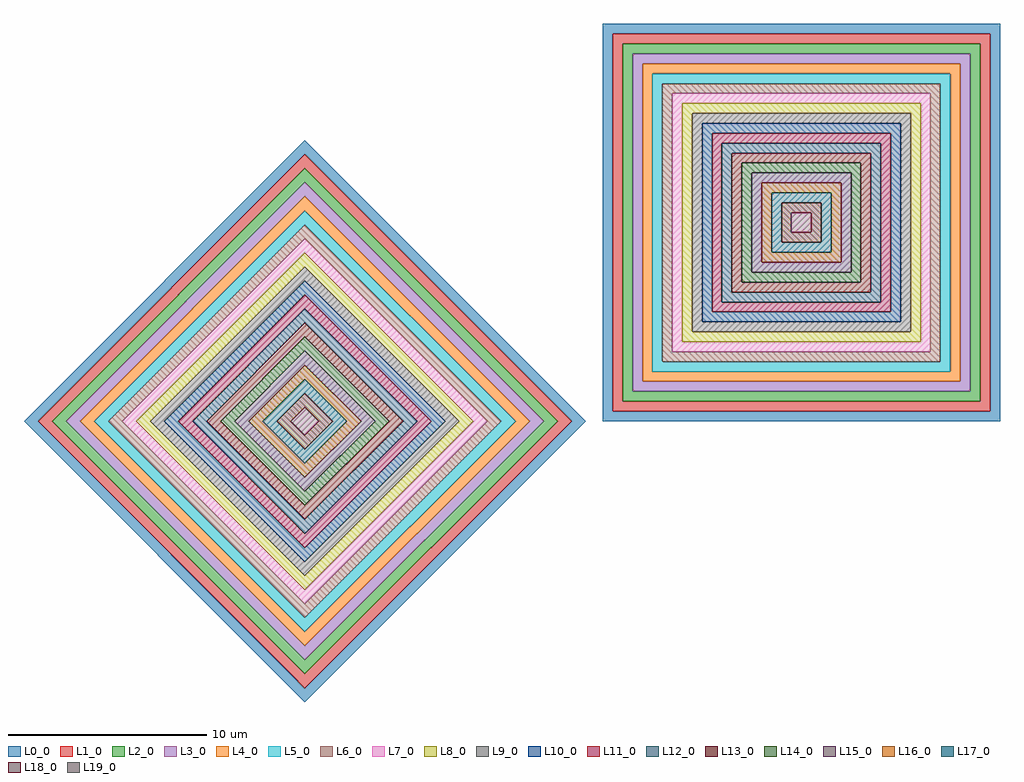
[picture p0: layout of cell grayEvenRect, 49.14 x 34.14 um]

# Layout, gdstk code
import gdstk
lib = gdstk.Library(unit=1e-6, precision=1e-09)
def R(c, l, rs):  # rectangles x0, y0, x1, y1
    for r in rs: c.add(gdstk.rectangle(r[:2], r[2:], *l))
def P(c, l, *ps):  # polygons
    for p in ps: c.add(gdstk.Polygon(p, *l))
L0_0 = (0, 0)
L1_0 = (1, 0)
L2_0 = (2, 0)
L3_0 = (3, 0)
L4_0 = (4, 0)
L5_0 = (5, 0)
L6_0 = (6, 0)
L7_0 = (7, 0)
L8_0 = (8, 0)
L9_0 = (9, 0)
L10_0 = (10, 0)
L11_0 = (11, 0)
L12_0 = (12, 0)
L13_0 = (13, 0)
L14_0 = (14, 0)
L15_0 = (15, 0)
L16_0 = (16, 0)
L17_0 = (17, 0)
L18_0 = (18, 0)
L19_0 = (19, 0)

grayevenrect = lib.new_cell('grayEvenRect')
P(grayevenrect, L0_0, [(-10,-10),(-10,-9.5),(9.5,-9.5),(9.5,9.5),(-9.5,9.5),(-9.5,-9.5),(-10,-9.5),(-10,10),(10,10),(10,-10)],
  [(-25,-24.142),(-25.707,-23.435),(-25,-23.435),(-11.565,-10),(-25,3.435),(-38.435,-10),(-25,-23.435),(-25.707,-23.435),(-39.142,-10),(-25,4.142),(-10.858,-10)])
P(grayevenrect, L1_0, [(-9.5,-9.5),(-9.5,-9),(9,-9),(9,9),(-9,9),(-9,-9),(-9.5,-9),(-9.5,9.5),(9.5,9.5),(9.5,-9.5)],
  [(-25,-23.435),(-25.707,-22.728),(-25,-22.728),(-12.272,-10),(-25,2.728),(-37.728,-10),(-25,-22.728),(-25.707,-22.728),(-38.435,-10),(-25,3.435),(-11.565,-10)])
P(grayevenrect, L2_0, [(-9,-9),(-9,-8.5),(8.5,-8.5),(8.5,8.5),(-8.5,8.5),(-8.5,-8.5),(-9,-8.5),(-9,9),(9,9),(9,-9)],
  [(-25,-22.728),(-25.707,-22.021),(-25,-22.021),(-12.979,-10),(-25,2.021),(-37.021,-10),(-25,-22.021),(-25.707,-22.021),(-37.728,-10),(-25,2.728),(-12.272,-10)])
P(grayevenrect, L3_0, [(-8.5,-8.5),(-8.5,-8),(8,-8),(8,8),(-8,8),(-8,-8),(-8.5,-8),(-8.5,8.5),(8.5,8.5),(8.5,-8.5)],
  [(-25,-22.021),(-25.707,-21.314),(-25,-21.314),(-13.686,-10),(-25,1.314),(-36.314,-10),(-25,-21.314),(-25.707,-21.314),(-37.021,-10),(-25,2.021),(-12.979,-10)])
P(grayevenrect, L4_0, [(-8,-8),(-8,-7.5),(7.5,-7.5),(7.5,7.5),(-7.5,7.5),(-7.5,-7.5),(-8,-7.5),(-8,8),(8,8),(8,-8)],
  [(-25,-21.314),(-25.707,-20.607),(-25,-20.607),(-14.393,-10),(-25,0.607),(-35.607,-10),(-25,-20.607),(-25.707,-20.607),(-36.314,-10),(-25,1.314),(-13.686,-10)])
P(grayevenrect, L5_0, [(-7.5,-7.5),(-7.5,-7),(7,-7),(7,7),(-7,7),(-7,-7),(-7.5,-7),(-7.5,7.5),(7.5,7.5),(7.5,-7.5)],
  [(-25,-20.607),(-25.707,-19.899),(-25,-19.899),(-15.101,-10),(-25,-0.101),(-34.899,-10),(-25,-19.899),(-25.707,-19.899),(-35.607,-10),(-25,0.607),(-14.393,-10)])
P(grayevenrect, L6_0, [(-7,-7),(-7,-6.5),(6.5,-6.5),(6.5,6.5),(-6.5,6.5),(-6.5,-6.5),(-7,-6.5),(-7,7),(7,7),(7,-7)],
  [(-25,-19.899),(-25.707,-19.192),(-25,-19.192),(-15.808,-10),(-25,-0.808),(-34.192,-10),(-25,-19.192),(-25.707,-19.192),(-34.899,-10),(-25,-0.101),(-15.101,-10)])
P(grayevenrect, L7_0, [(-6.5,-6.5),(-6.5,-6),(6,-6),(6,6),(-6,6),(-6,-6),(-6.5,-6),(-6.5,6.5),(6.5,6.5),(6.5,-6.5)],
  [(-25,-19.192),(-25.707,-18.485),(-25,-18.485),(-16.515,-10),(-25,-1.515),(-33.485,-10),(-25,-18.485),(-25.707,-18.485),(-34.192,-10),(-25,-0.808),(-15.808,-10)])
P(grayevenrect, L8_0, [(-6,-6),(-6,-5.5),(5.5,-5.5),(5.5,5.5),(-5.5,5.5),(-5.5,-5.5),(-6,-5.5),(-6,6),(6,6),(6,-6)],
  [(-25,-18.485),(-25.707,-17.778),(-25,-17.778),(-17.222,-10),(-25,-2.222),(-32.778,-10),(-25,-17.778),(-25.707,-17.778),(-33.485,-10),(-25,-1.515),(-16.515,-10)])
P(grayevenrect, L9_0, [(-5.5,-5.5),(-5.5,-5),(5,-5),(5,5),(-5,5),(-5,-5),(-5.5,-5),(-5.5,5.5),(5.5,5.5),(5.5,-5.5)],
  [(-25,-17.778),(-25.707,-17.071),(-25,-17.071),(-17.929,-10),(-25,-2.929),(-32.071,-10),(-25,-17.071),(-25.707,-17.071),(-32.778,-10),(-25,-2.222),(-17.222,-10)])
P(grayevenrect, L10_0, [(-5,-5),(-5,-4.5),(4.5,-4.5),(4.5,4.5),(-4.5,4.5),(-4.5,-4.5),(-5,-4.5),(-5,5),(5,5),(5,-5)],
  [(-25,-17.071),(-25.707,-16.364),(-25,-16.364),(-18.636,-10),(-25,-3.636),(-31.364,-10),(-25,-16.364),(-25.707,-16.364),(-32.071,-10),(-25,-2.929),(-17.929,-10)])
P(grayevenrect, L11_0, [(-4.5,-4.5),(-4.5,-4),(4,-4),(4,4),(-4,4),(-4,-4),(-4.5,-4),(-4.5,4.5),(4.5,4.5),(4.5,-4.5)],
  [(-25,-16.364),(-25.707,-15.657),(-25,-15.657),(-19.343,-10),(-25,-4.343),(-30.657,-10),(-25,-15.657),(-25.707,-15.657),(-31.364,-10),(-25,-3.636),(-18.636,-10)])
P(grayevenrect, L12_0, [(-4,-4),(-4,-3.5),(3.5,-3.5),(3.5,3.5),(-3.5,3.5),(-3.5,-3.5),(-4,-3.5),(-4,4),(4,4),(4,-4)],
  [(-25,-15.657),(-25.707,-14.95),(-25,-14.95),(-20.05,-10),(-25,-5.05),(-29.95,-10),(-25,-14.95),(-25.707,-14.95),(-30.657,-10),(-25,-4.343),(-19.343,-10)])
P(grayevenrect, L13_0, [(-3.5,-3.5),(-3.5,-3),(3,-3),(3,3),(-3,3),(-3,-3),(-3.5,-3),(-3.5,3.5),(3.5,3.5),(3.5,-3.5)],
  [(-25,-14.95),(-25.707,-14.243),(-25,-14.243),(-20.757,-10),(-25,-5.757),(-29.243,-10),(-25,-14.243),(-25.707,-14.243),(-29.95,-10),(-25,-5.05),(-20.05,-10)])
P(grayevenrect, L14_0, [(-3,-3),(-3,-2.5),(2.5,-2.5),(2.5,2.5),(-2.5,2.5),(-2.5,-2.5),(-3,-2.5),(-3,3),(3,3),(3,-3)],
  [(-25,-14.243),(-25.707,-13.536),(-25,-13.536),(-21.464,-10),(-25,-6.464),(-28.536,-10),(-25,-13.536),(-25.707,-13.536),(-29.243,-10),(-25,-5.757),(-20.757,-10)])
P(grayevenrect, L15_0, [(-2.5,-2.5),(-2.5,-2),(2,-2),(2,2),(-2,2),(-2,-2),(-2.5,-2),(-2.5,2.5),(2.5,2.5),(2.5,-2.5)],
  [(-25,-13.536),(-25.707,-12.828),(-25,-12.828),(-22.172,-10),(-25,-7.172),(-27.828,-10),(-25,-12.828),(-25.707,-12.828),(-28.536,-10),(-25,-6.464),(-21.464,-10)])
P(grayevenrect, L16_0, [(-2,-2),(-2,-1.5),(1.5,-1.5),(1.5,1.5),(-1.5,1.5),(-1.5,-1.5),(-2,-1.5),(-2,2),(2,2),(2,-2)],
  [(-25,-12.828),(-25.707,-12.121),(-25,-12.121),(-22.879,-10),(-25,-7.879),(-27.121,-10),(-25,-12.121),(-25.707,-12.121),(-27.828,-10),(-25,-7.172),(-22.172,-10)])
P(grayevenrect, L17_0, [(-1.5,-1.5),(-1.5,-1),(1,-1),(1,1),(-1,1),(-1,-1),(-1.5,-1),(-1.5,1.5),(1.5,1.5),(1.5,-1.5)],
  [(-25,-12.121),(-25.707,-11.414),(-25,-11.414),(-23.586,-10),(-25,-8.586),(-26.414,-10),(-25,-11.414),(-25.707,-11.414),(-27.121,-10),(-25,-7.879),(-22.879,-10)])
P(grayevenrect, L18_0, [(-1,-1),(-1,-0.5),(0.5,-0.5),(0.5,0.5),(-0.5,0.5),(-0.5,-0.5),(-1,-0.5),(-1,1),(1,1),(1,-1)],
  [(-25,-11.414),(-25.707,-10.707),(-25,-10.707),(-24.293,-10),(-25,-9.293),(-25.707,-10),(-25,-10.707),(-25.707,-10.707),(-26.414,-10),(-25,-8.586),(-23.586,-10)])
R(grayevenrect, L19_0, [(-0.5,-0.5,0.5,0.5)])
P(grayevenrect, L19_0, [(-25,-10.707),(-25.707,-10),(-25,-9.293),(-24.293,-10)])

lib.write_gds('grayEvenRect.gds')
